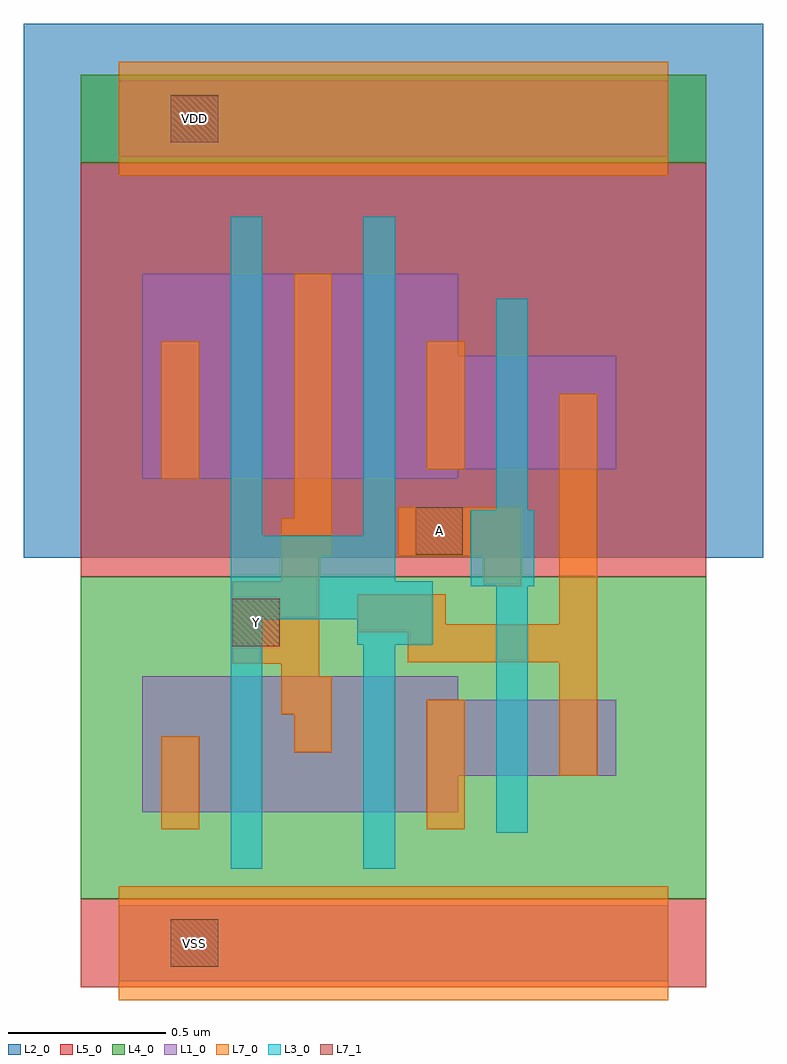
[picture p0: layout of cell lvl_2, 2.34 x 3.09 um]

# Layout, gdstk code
import gdstk
lib = gdstk.Library(unit=1e-6, precision=1e-09)
def R(c, l, rs):  # rectangles x0, y0, x1, y1
    for r in rs: c.add(gdstk.rectangle(r[:2], r[2:], *l))
L1_0 = (1, 0)
L2_0 = (2, 0)
L3_0 = (3, 0)
L4_0 = (4, 0)
L5_0 = (5, 0)
L7_0 = (7, 0)
L7_1 = (7, 1)

lvl_2 = lib.new_cell('lvl_2')
R(lvl_2, L1_0, [(0,-0.12,1.74,0.12), (0.075,0.415,1.075,0.53), (0.075,0.53,1.575,0.77), (0.075,0.77,1.075,0.845), (0.075,1.47,1.075,1.5), (0.075,1.5,1.575,1.86), (0.075,1.86,1.075,2.12), (0,2.49,1.74,2.73)])
R(lvl_2, L2_0, [(-0.3,1.22,2.04,2.91)])
R(lvl_2, L3_0, [(0.355,0.235,0.455,1.025), (0.775,0.235,0.875,0.945), (1.195,0.35,1.295,1.13), (0.755,0.945,0.995,1.025), (0.355,1.025,0.995,1.145), (1.115,1.13,1.315,1.37), (0.355,1.145,0.875,1.29), (0.355,1.29,0.455,2.3), (0.775,1.29,0.875,2.3), (1.195,1.37,1.295,2.04)])
R(lvl_2, L4_0, [(-0.12,0.14,1.86,1.16), (-0.12,2.47,1.86,2.75)])
R(lvl_2, L5_0, [(-0.12,-0.14,1.86,0.14), (-0.12,1.16,1.86,2.47)])
R(lvl_2, L7_0, [(0,-0.18,1.74,0.18), (0.135,0.36,0.255,0.655), (0.975,0.36,1.095,0.77), (1.395,0.53,1.515,0.89), (0.555,0.605,0.675,0.725), (0.515,0.725,0.675,0.845), (0.515,0.845,0.635,0.885), (0.36,0.885,0.635,1.145), (0.915,0.89,1.515,0.985), (0.755,0.985,1.515,1.01), (0.755,1.01,1.035,1.105), (1.395,1.01,1.515,1.74), (1.155,1.13,1.275,1.225), (0.515,1.145,0.635,1.225), (0.515,1.225,0.675,1.345), (0.885,1.225,1.275,1.38), (0.555,1.345,0.675,2.12), (0.135,1.47,0.255,1.905), (0.975,1.5,1.095,1.905), (0,2.43,1.74,2.79)])
R(lvl_2, L7_1, [(0.165,-0.075,0.315,0.075), (0.36,0.94,0.51,1.09), (0.94,1.23,1.09,1.38), (0.165,2.535,0.315,2.685)])
lvl_2.add(gdstk.Label('Y', (0.435,1.015), layer=40, texttype=0))
lvl_2.add(gdstk.Label('A', (1.015,1.305), layer=40, texttype=0))
lvl_2.add(gdstk.Label('VDD', (0.24,2.61), layer=40, texttype=0))
lvl_2.add(gdstk.Label('VSS', (0.24,0), layer=40, texttype=0))

lib.write_gds('lvl_2.gds')
